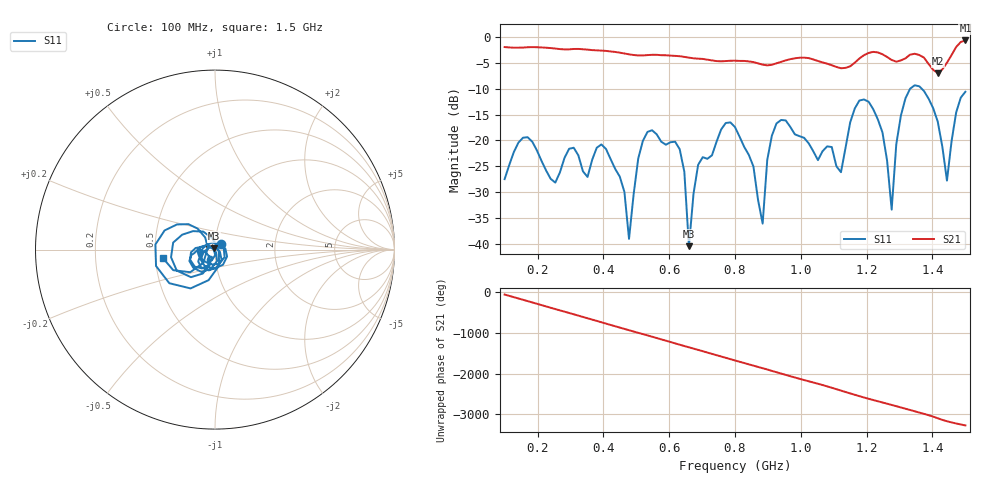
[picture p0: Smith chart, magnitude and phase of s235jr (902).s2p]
! NanoVNA-App
! Date: 2025-09-25 15:11:11
! Start: 100MHz Stop: 1,5GHz Points: 101
! S-Parameter data: F S11 S21 S12 S22
# Hz S RI R 50
!  Frequency  S11_Real  S11_Imag  S21_Real  S21_Imag  S12_Real  S12_Imag  S22_Real  S22_Imag
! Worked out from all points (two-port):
!   101 points, 100 MHz to 1.5 GHz, reference 50 ohm
!   highest |S21| = -0.69 dB at 1.5 GHz (marker M1); lowest = -7.0 dB at 1.416 GHz (marker M2)
!   |S21| within 3 dB of the highest: start of sweep to 623 MHz; 1.188 GHz to 1.257 GHz (68.62 MHz wide, 5.61 % of centre) (the widest 2 of 4)
!   lowest |S11| = -40.4 dB at 660 MHz (marker M3), VSWR 1.02, Z = 49.3 + j0.612 ohm
!   |S11| at or under -10 dB: start of sweep to 1.332 GHz; 1.367 GHz to end of sweep
!   S12 and S22 are empty: the file has one direction only
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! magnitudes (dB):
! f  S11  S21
! 100 MHz  -27.5  -2.0
! 170 MHz  -19.4  -2.0
! 338 MHz  -26.0  -2.4
! 408 MHz  -21.6  -2.7
! 478 MHz  -39.0  -3.4
! 520 MHz  -20.1  -3.6
! 576 MHz  -20.3  -3.5
! 632 MHz  -21.7  -3.7
! 660 MHz  -40.4  -4.0
! 688 MHz  -24.7  -4.2
! 800 MHz  -17.4  -4.6
! 884 MHz  -36.1  -5.4
! 926 MHz  -16.7  -5.1
! 1.038 GHz  -22.1  -4.4
! 1.122 GHz  -26.1  -6.1
! 1.206 GHz  -12.5  -3.1
! 1.276 GHz  -33.4  -4.5
! 1.29 GHz  -20.7  -4.8
! 1.332 GHz  -10.0  -3.4
! 1.416 GHz  -16.4  -7.0
! 1.444 GHz  -27.8  -5.0
! 1.5 GHz  -10.6  -0.7
